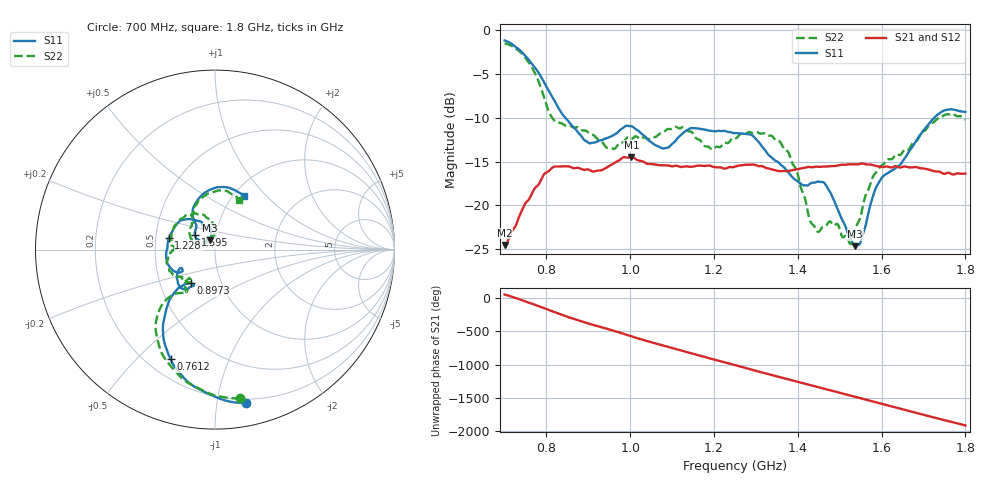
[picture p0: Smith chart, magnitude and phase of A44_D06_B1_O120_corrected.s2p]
! Created with skrf 1.9.0 (http://scikit-rf.org).
# Hz S RI R 50.0
!freq ReS11 ImS11 ReS21 ImS21 ReS12 ImS12 ReS22 ImS22
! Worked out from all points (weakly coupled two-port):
!   1601 points, 700 MHz to 1.8 GHz, reference 50 ohm
!   highest |S21| = -14.47 dB at 1.002 GHz (marker M1); lowest = -24.5 dB at 700.7 MHz (marker M2)
!   lowest |S11| = -24.6 dB at 1.537 GHz (marker M3), VSWR 1.12, Z = 47.1 + j4.93 ohm
!   |S11| at or under -10 dB: 845.1 MHz to 1.726 GHz (880.6 MHz wide, 68.5 % of centre)
!   |S22| runs from -24.4 to -1.5 dB; largest |S21 - S12| = 0.0034
!   S11 on the Smith chart (normalised r, x): 700 MHz: 0.17, -1.21; 761.2 MHz: 0.29, -0.63; 897.3 MHz: 0.72, -0.29; 1.228 GHz: 0.59, +0.08; 1.595 GHz: 0.79, +0.13; 1.8 GHz: 1.12, +0.76
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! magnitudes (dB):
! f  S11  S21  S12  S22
! 700 MHz  -1.2  -24.5  -24.3  -1.5
! 700.7 MHz  -1.2  -24.5  -24.2  -1.5
! 761.2 MHz  -3.6  -19.1  -19.0  -3.9
! 816.2 MHz  -7.8  -15.6  -15.7  -10.2
! 883.6 MHz  -12.1  -15.9  -15.8  -11.4
! 897.3 MHz  -12.7  -15.9  -16.0  -11.6
! 947.5 MHz  -12.3  -15.6  -15.6  -13.4
! 1.002 GHz  -11.0  -14.5  -14.6  -12.4
! 1.067 GHz  -13.3  -15.4  -15.3  -11.9
! 1.145 GHz  -11.2  -15.6  -15.6  -11.6
! 1.228 GHz  -11.5  -15.8  -15.7  -12.8
! 1.25 GHz  -11.8  -15.6  -15.5  -12.3
! 1.358 GHz  -15.3  -16.1  -16.0  -12.8
! 1.396 GHz  -17.1  -15.9  -15.9  -15.9
! 1.434 GHz  -17.4  -15.6  -15.6  -22.1
! 1.467 GHz  -17.7  -15.6  -15.5  -22.3
! 1.525 GHz  -23.7  -15.3  -15.3  -24.4
! 1.537 GHz  -24.6  -15.3  -15.3  -22.9
! 1.595 GHz  -17.2  -15.6  -15.6  -15.7
! 1.617 GHz  -16.2  -15.6  -15.6  -14.7
! 1.735 GHz  -9.6  -16.1  -16.2  -10.1
! 1.8 GHz  -9.3  -16.4  -16.3  -10.2
